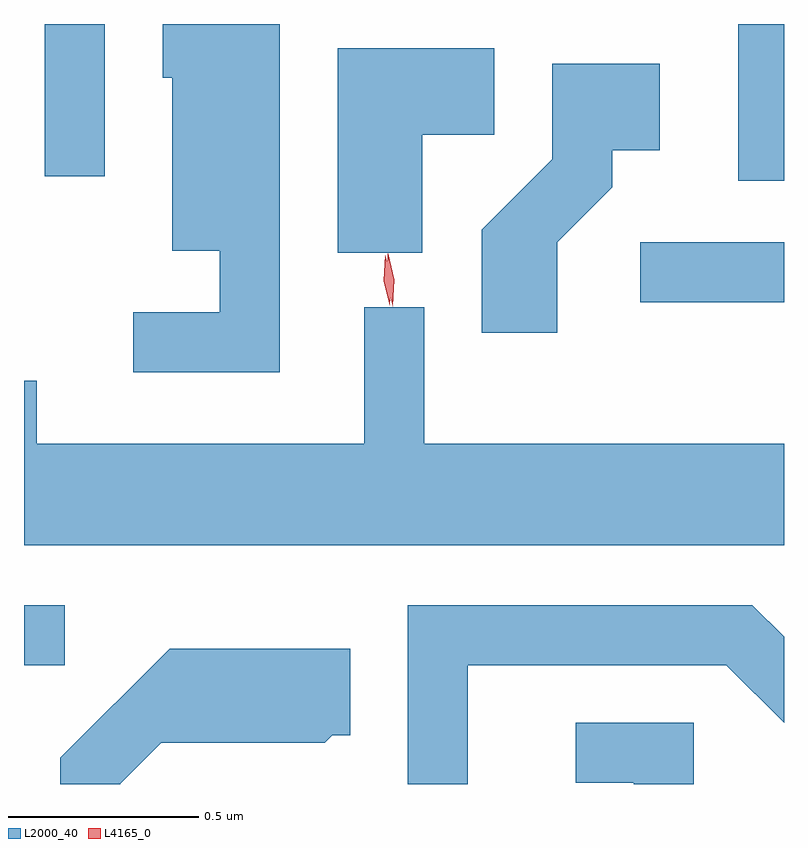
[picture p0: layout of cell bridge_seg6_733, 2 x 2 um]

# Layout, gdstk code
import gdstk
lib = gdstk.Library(unit=1e-6, precision=1e-09)
def R(c, l, rs):  # rectangles x0, y0, x1, y1
    for r in rs: c.add(gdstk.rectangle(r[:2], r[2:], *l))
def P(c, l, *ps):  # polygons
    for p in ps: c.add(gdstk.Polygon(p, *l))
L2000_40 = (2000, 40)
L4165_0 = (4165, 0)

bridge_seg6_733 = lib.new_cell('bridge_seg6_733')
R(bridge_seg6_733, L2000_40, [(269.221,1538.621,269.328,1538.779), (270.843,1539.576,271.221,1539.734), (271.101,1539.896,271.221,1540.308), (269.276,1539.908,269.434,1540.308)])
P(bridge_seg6_733, L2000_40, [(269.894,1540.308),(269.586,1540.308),(269.586,1540.166),(269.611,1540.166),(269.611,1539.711),(269.736,1539.711),(269.736,1539.549),(269.508,1539.549),(269.508,1539.391),(269.894,1539.391)],
  [(270.269,1540.016),(270.459,1540.016),(270.459,1540.244),(270.046,1540.244),(270.046,1539.706),(270.269,1539.706)],
  [(270.624,1539.734),(270.769,1539.879),(270.769,1539.976),(270.894,1539.976),(270.894,1540.204),(270.611,1540.204),(270.611,1539.952),(270.426,1539.767),(270.426,1539.496),(270.624,1539.496)],
  [(271.221,1539.204),(270.274,1539.204),(270.274,1539.563),(270.116,1539.563),(270.116,1539.204),(269.254,1539.204),(269.254,1539.369),(269.221,1539.369),(269.221,1538.936),(271.221,1538.936)],
  [(270.389,1538.621),(271.069,1538.621),(271.221,1538.469),(271.221,1538.695),(271.137,1538.779),(270.231,1538.779),(270.231,1538.308),(270.389,1538.308)],
  [(269.474,1538.309),(269.582,1538.416),(270.012,1538.416),(270.032,1538.436),(270.079,1538.436),(270.079,1538.664),(269.604,1538.664),(269.316,1538.377),(269.316,1538.308),(269.474,1538.308)],
  [(270.984,1538.469),(270.673,1538.469),(270.673,1538.311),(270.826,1538.311),(270.826,1538.308),(270.984,1538.308)])
P(bridge_seg6_733, L4165_0, [(270.183,1539.568),(270.168,1539.633),(270.171,1539.699),(270.171,1539.7),(270.172,1539.699),(270.187,1539.635),(270.184,1539.568),(270.184,1539.568)],
  [(270.192,1539.565),(270.191,1539.566),(270.175,1539.634),(270.178,1539.703),(270.178,1539.704),(270.179,1539.703),(270.195,1539.635),(270.192,1539.566)])

lib.write_gds('bridge_seg6_733.gds')
